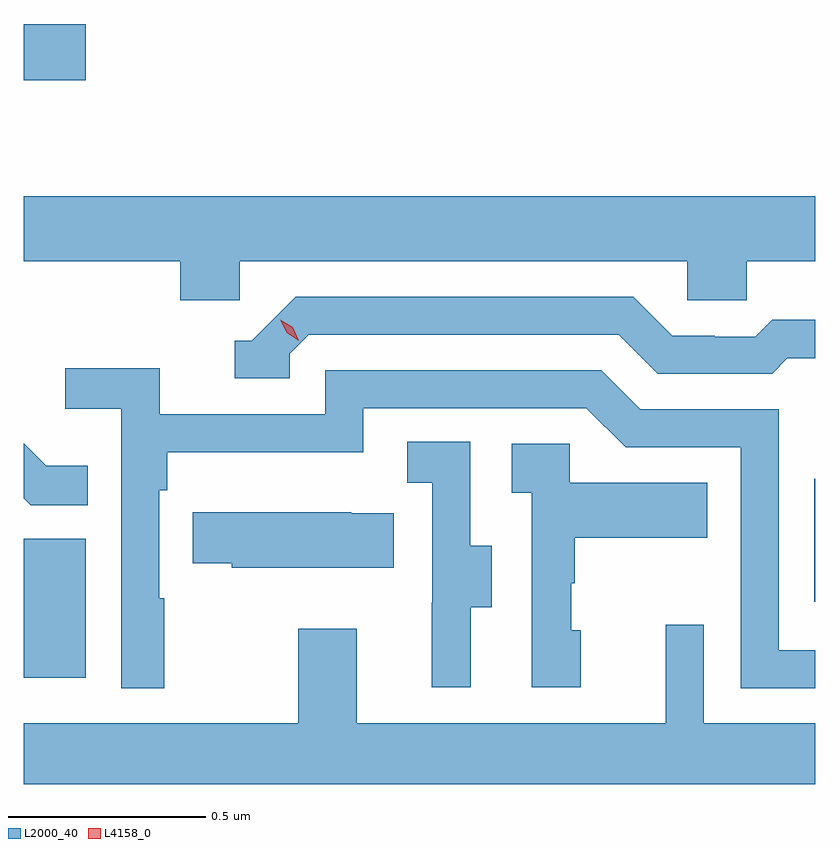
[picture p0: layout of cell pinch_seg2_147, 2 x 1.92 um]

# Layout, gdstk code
import gdstk
lib = gdstk.Library(unit=1e-6, precision=1e-09)
def R(c, l, rs):  # rectangles x0, y0, x1, y1
    for r in rs: c.add(gdstk.rectangle(r[:2], r[2:], *l))
def P(c, l, *ps):  # polygons
    for p in ps: c.add(gdstk.Polygon(p, *l))
L2000_40 = (2000, 40)
L4158_0 = (4158, 0)

pinch_seg2_147 = lib.new_cell('pinch_seg2_147')
R(pinch_seg2_147, L2000_40, [(1090.872,643.92,1091.029,644.271), (1092.87,644.112,1092.872,644.422), (1090.872,645.43,1091.029,645.572)])
P(pinch_seg2_147, L2000_40, [(1091.418,644.972),(1092.549,644.972),(1092.549,644.874),(1092.699,644.874),(1092.699,644.972),(1092.872,644.972),(1092.872,645.136),(1090.872,645.136),(1090.872,644.972),(1091.267,644.972),(1091.267,644.874),(1091.418,644.874)],
  [(1091.544,644.739),(1091.592,644.787),(1092.375,644.787),(1092.474,644.688),(1092.763,644.688),(1092.802,644.727),(1092.872,644.727),(1092.872,644.824),(1092.763,644.824),(1092.721,644.781),(1092.618,644.781),(1092.618,644.784),(1092.511,644.784),(1092.412,644.883),(1091.559,644.883),(1091.448,644.772),(1091.405,644.772),(1091.405,644.676),(1091.544,644.676)],
  [(1091.227,644.12),(1091.214,644.12),(1091.214,644.393),(1091.234,644.393),(1091.234,644.489),(1091.73,644.489),(1091.73,644.601),(1092.294,644.601),(1092.393,644.502),(1092.684,644.502),(1092.684,643.893),(1092.872,643.893),(1092.872,643.989),(1092.78,643.989),(1092.78,644.598),(1092.43,644.598),(1092.331,644.697),(1091.634,644.697),(1091.634,644.586),(1091.216,644.586),(1091.216,644.702),(1090.977,644.702),(1090.977,644.6),(1091.118,644.6),(1091.118,643.893),(1091.227,643.893)],
  [(1092.001,644.098),(1092.055,644.098),(1092.055,644.253),(1092,644.253),(1092,644.516),(1091.841,644.516),(1091.841,644.413),(1091.904,644.413),(1091.904,644.109),(1091.903,644.109),(1091.903,643.896),(1092.001,643.896)],
  [(1091.033,644.455),(1090.929,644.455),(1090.872,644.512),(1090.872,644.373),(1090.889,644.356),(1091.033,644.356)],
  [(1092.28,644.04),(1092.255,644.04),(1092.255,644.159),(1092.265,644.159),(1092.265,644.273),(1092.599,644.273),(1092.599,644.413),(1092.252,644.413),(1092.252,644.511),(1092.105,644.511),(1092.105,644.387),(1092.156,644.387),(1092.156,643.896),(1092.28,643.896)],
  [(1091.807,644.335),(1091.699,644.335),(1091.699,644.338),(1091.299,644.338),(1091.299,644.209),(1091.397,644.209),(1091.397,644.198),(1091.807,644.198)],
  [(1092.872,643.804),(1092.591,643.804),(1092.591,644.053),(1092.494,644.053),(1092.494,643.804),(1091.713,643.804),(1091.713,644.044),(1091.566,644.044),(1091.566,643.804),(1090.872,643.804),(1090.872,643.651),(1092.872,643.651)])
P(pinch_seg2_147, L4158_0, [(1091.567,644.772),(1091.536,644.792),(1091.52,644.824),(1091.52,644.825),(1091.52,644.825),(1091.551,644.805),(1091.567,644.772),(1091.567,644.772)])

lib.write_gds('pinch_seg2_147.gds')
